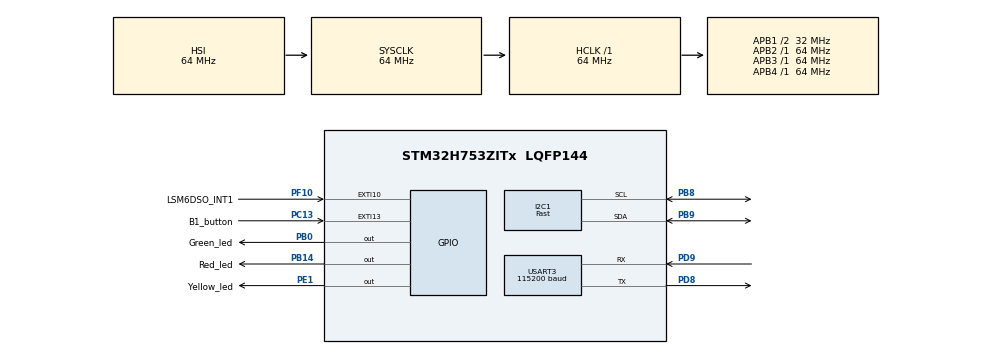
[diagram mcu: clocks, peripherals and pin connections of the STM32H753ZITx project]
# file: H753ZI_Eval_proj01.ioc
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CORTEX_M7.Enable_Spec=MPU_REGION_ENABLE
CORTEX_M7.default_mode_Activation=1
FREERTOS.Tasks01=defaultTask,8,128,StartDefaultTask,Default,NULL,Dynamic,NULL,NULL
FREERTOS.configTOTAL_HEAP_SIZE=(32 * 1024)
FREERTOS.configUSE_NEWLIB_REENTRANT=1
I2C1.I2C_Fall_Time=0
I2C1.I2C_Rise_Time=0
I2C1.I2C_Speed_Mode=I2C_Fast
I2C1.Timing=0x00300F38
IWDG1.Prescaler=IWDG_PRESCALER_64
Mcu.Family=STM32H7
Mcu.Name=STM32H753ZITx
Mcu.Package=LQFP144
NVIC.EXTI15_10_IRQn=true\:5\:0\:false\:false\:true\:true\:true\:true\:true
NVIC.I2C1_ER_IRQn=true\:5\:0\:false\:false\:true\:true\:true\:true\:true
NVIC.I2C1_EV_IRQn=true\:5\:0\:false\:false\:true\:true\:true\:true\:true
NVIC.PriorityGroup=NVIC_PRIORITYGROUP_4
NVIC.TIM1_UP_IRQn=true\:15\:0\:false\:false\:true\:false\:false\:true\:true
NVIC.TimeBase=TIM1_UP_IRQn
NVIC.TimeBaseIP=TIM1
NVIC.USART3_IRQn=true\:5\:0\:false\:false\:true\:true\:true\:true\:true
PB0.GPIO_Label=Green_led
PB0.Signal=GPIO_Output
PB14.GPIO_Label=Red_led
PB14.Signal=GPIO_Output
PB8.GPIO_Speed=GPIO_SPEED_FREQ_HIGH
PB8.Mode=I2C
PB8.Signal=I2C1_SCL
PB9.GPIO_Speed=GPIO_SPEED_FREQ_HIGH
PB9.Mode=I2C
PB9.Signal=I2C1_SDA
PC13.GPIO_Label=B1_button
PC13.GPIO_ModeDefaultEXTI=GPIO_MODE_IT_RISING_FALLING
PC13.Signal=GPXTI13
PD8.Mode=Asynchronous
PD8.Signal=USART3_TX
PD9.Mode=Asynchronous
PD9.Signal=USART3_RX
PE1.GPIO_Label=Yellow_led
PE1.Signal=GPIO_Output
PF10.GPIO_Label=LSM6DSO_INT1
PF10.GPIO_ModeDefaultEXTI=GPIO_MODE_IT_RISING
PF10.Signal=GPXTI10
ProjectManager.HeapSize=0x200
ProjectManager.StackSize=0x400
ProjectManager.TargetToolchain=STM32CubeIDE
RCC.ADCFreq_Value=129000000
RCC.APB1Freq_Value=32000000
RCC.APB2Freq_Value=64000000
RCC.APB3Freq_Value=64000000
RCC.APB4Freq_Value=64000000
RCC.CortexFreq_Value=64000000
RCC.D2PPRE1=RCC_APB1_DIV2
RCC.HCLKFreq_Value=64000000
RCC.SYSCLKFreq_VALUE=64000000
RCC.USBFreq_Value=129000000
USART3.BaudRate=115200
USART3.VirtualMode-Asynchronous=VM_ASYNC
VP_FREERTOS_VS_CMSIS_V2.Mode=CMSIS_V2
VP_IWDG1_VS_IWDG.Mode=IWDG_Activate
VP_MEMORYMAP_VS_MEMORYMAP.Mode=CurAppReg
VP_RTC_VS_RTC_Activate.Mode=RTC_Enabled
VP_SYS_VS_tim1.Mode=TIM1
board=custom

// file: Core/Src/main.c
/* USER CODE BEGIN Header */
/**
  ******************************************************************************
  * @file           : main.c
  * @brief          : Main program body
  ******************************************************************************
  * @attention
  *
  * Copyright (c) 2024 STMicroelectronics.
  * All rights reserved.
  *
  * This software is licensed under terms that can be found in the LICENSE file
  * in the root directory of this software component.
  * If no LICENSE file comes with this software, it is provided AS-IS.
  *
  ******************************************************************************
  */
/* USER CODE END Header */
#include "main.h"
#include "cmsis_os.h"

/* USER CODE BEGIN Includes */
#include ".\LED\Led.h"
#include ".\USART\Usart.h"
#include ".\GPIO\Gpio.h"
#include ".\PER\Peripherals.h"
#include ".\Util\Util.h"
#include ".\RespCodes.h"
#include ".\I2C\I2C.h"
#include ".\Sens\task_Sensors.h"
#include ".\Sens\SHT40.h"
#include ".\Sens\STTS22.h"
#include ".\Sens\LPS22D.h"
#include ".\Sens\LIS2MDL.h"
#include ".\Sens\LSM6DSV.h"
#include ".\Sens\LSM6DSO.h"
#include ".\Sens\LIS2DUX.h"

/* USER CODE END Includes */

I2C_HandleTypeDef hi2c1;

IWDG_HandleTypeDef hiwdg1;

RTC_HandleTypeDef hrtc;

UART_HandleTypeDef huart3;

/* Definitions for defaultTask */
osThreadId_t defaultTaskHandle;
const osThreadAttr_t defaultTask_attributes = {
  .name = "defaultTask",
  .stack_size = 128 * 4,
  .priority = (osPriority_t) osPriorityLow,
};
/* USER CODE BEGIN PV */

osThreadId_t task_SensorsHandle;
const osThreadAttr_t task_Sensors_attributes = {
  .name = "task_Sensors",
  .stack_size = 512 * 4,
  .priority = (osPriority_t) osPriorityLow,
};

osThreadId_t task_SHT40Handle;
const osThreadAttr_t task_SHT40_attributes = {
  .name = "task_SHT40",
  .stack_size = 256 * 4,
  .priority = (osPriority_t) osPriorityNormal,
};

osThreadId_t task_STTS22Handle;
const osThreadAttr_t task_STTS22_attributes = {
  .name = "task_STTS22",
  .stack_size = 256 * 4,
  .priority = (osPriority_t) osPriorityNormal,
};

osThreadId_t task_LPS22DHandle;
const osThreadAttr_t task_LPS22D_attributes = {
  .name = "task_LPS22D",
  .stack_size = 512 * 4,
  .priority = (osPriority_t) osPriorityNormal,
};

osThreadId_t task_LIS2MDLHandle;
const osThreadAttr_t task_LIS2MDL_attributes = {
  .name = "task_LIS2MDL",
  .stack_size = 512 * 4,
  .priority = (osPriority_t) osPriorityNormal,
};

osThreadId_t task_LSM6DSVHandle;
const osThreadAttr_t task_LSM6DSV_attributes = {
  .name = "task_LSM6DSV",
  .stack_size = 512 * 4,
  .priority = (osPriority_t) osPriorityNormal,
};

osThreadId_t task_LSM6DSOHandle;
const osThreadAttr_t task_LSM6DSO_attributes = {
  .name = "task_LSM6DSO",
  .stack_size = 512 * 4,
  .priority = (osPriority_t) osPriorityNormal,
};

osThreadId_t task_LIS2DUXHandle;
const osThreadAttr_t task_LIS2DUX_attributes = {
  .name = "task_LIS2DUX",
  .stack_size = 512 * 4,
  .priority = (osPriority_t) osPriorityNormal,
};

osThreadId_t task_I2CHandle;
const osThreadAttr_t task_I2C_attributes = {
  .name = "task_I2C",
  .stack_size = 128 * 4,
  .priority = (osPriority_t) osPriorityHigh,
};

static	uint8_t	Usart_RxBuf[64];
static	uint8_t	Usart_RxBufIdx = 0;
static	bool	Usart_RxBufIgnore = false;
/* USER CODE END PV */

void SystemClock_Config(void);
static void MPU_Config(void);
static void MX_GPIO_Init(void);
static void MX_IWDG1_Init(void);
static void MX_RTC_Init(void);
static void MX_USART3_UART_Init(void);
static void MX_I2C1_Init(void);
void StartDefaultTask(void *argument);

/* USER CODE BEGIN 0 */
void Main_USART_TxCplt(void)
{
}

void Main_USART_RxCplt(uint8_t Byte)
{
	if( Usart_RxBufIgnore == true)
		return;

	if( Usart_RxBufIdx >= (sizeof(Usart_RxBuf) - 1))
		Usart_RxBufIdx = 0;

	Usart_RxBuf[Usart_RxBufIdx ++]	= Byte;
	Usart_RxBuf[Usart_RxBufIdx] 	= 0x00;

	if( Byte == '\r')
	{
		printf("Received Data!\n");
//		BSP_USART_Send(eBSP_USART_PORT_3, Main_USART_TxCplt, Usart_RxBuf, Usart_RxBufIdx);
		Usart_RxBufIdx = 0;
	}
}

/* USER CODE END 0 */

int main(void)
{

  /* MPU Configuration--------------------------------------------------------*/
  MPU_Config();

  /* MCU Configuration--------------------------------------------------------*/

  /* Reset of all peripherals, Initializes the Flash interface and the Systick. */
  HAL_Init();

  /* USER CODE BEGIN Init */
  uint32_t system_clock_freq = HAL_RCC_GetSysClockFreq();

  /* USER CODE END Init */

  /* Configure the system clock */
  SystemClock_Config();

  /* Initialize all configured peripherals */
  MX_GPIO_Init();
  MX_IWDG1_Init();
  MX_RTC_Init();
  MX_USART3_UART_Init();
  MX_I2C1_Init();
  /* USER CODE BEGIN 2 */

  // LEDs
  BSP_LED_Start(eBSP_LED_1_RED, eBSP_LED_PATTERN_ON, 0);
  HAL_Delay(1000);
  BSP_LED_Start(eBSP_LED_2_YELLOW, eBSP_LED_PATTERN_ON, 0);
  HAL_Delay(500);
  BSP_LED_Start(eBSP_LED_1_RED, eBSP_LED_PATTERN_OFF, 0);
  BSP_LED_Start(eBSP_LED_2_YELLOW, eBSP_LED_PATTERN_OFF, 0);
  BSP_LED_Start(eBSP_LED_3_GREEN, eBSP_LED_PATTERN_ON, 0);
  HAL_Delay(500);
  BSP_LED_Start(eBSP_LED_3_GREEN, eBSP_LED_PATTERN_OFF, 0);
//  BSP_LED_Start(eBSP_LED_1_RED, eBSP_LED_PATTERN_ON, 0);
  BSP_LED_MainStart();

  // USART
  BSP_USART_Init(eBSP_USART_PORT_3, &huart3);
//  Usart_RxBuf[64];
  Usart_RxBufIdx = 0;
  Usart_RxBufIgnore = false;
  char	String[] = "\n\nSTART\n\n";
  BSP_USART_Receive(eBSP_USART_PORT_3, Main_USART_RxCplt);
  BSP_USART_Send(eBSP_USART_PORT_3, Main_USART_TxCplt, String, strlen(String));
  HAL_Delay(100);

  /* USER CODE END 2 */

  /* Init scheduler */
  osKernelInitialize();

  /* Create the thread(s) */
  /* creation of defaultTask */
  defaultTaskHandle = osThreadNew(StartDefaultTask, NULL, &defaultTask_attributes);

  /* USER CODE BEGIN RTOS_THREADS */
  task_I2CHandle		= osThreadNew(task_I2C, NULL, &task_I2C_attributes);
  task_SensorsHandle	= osThreadNew(task_Sensors, NULL, &task_Sensors_attributes);
  task_SHT40Handle 		= osThreadNew(task_SHT40, NULL, &task_SHT40_attributes);
  task_STTS22Handle		= osThreadNew(task_STTS22, NULL, &task_STTS22_attributes);
  task_LPS22DHandle		= osThreadNew(task_LPS22D, NULL, &task_LPS22D_attributes);
  task_LIS2MDLHandle	= osThreadNew(task_LIS2MDL, NULL, &task_LIS2MDL_attributes);
  task_LSM6DSVHandle	= osThreadNew(task_LSM6DSV, NULL, &task_LSM6DSV_attributes);
  task_LSM6DSOHandle	= osThreadNew(task_LSM6DSO, NULL, &task_LSM6DSO_attributes);
  task_LIS2DUXHandle	= osThreadNew(task_LIS2DUX, NULL, &task_LIS2DUX_attributes);

  /* USER CODE END RTOS_THREADS */

  /* USER CODE BEGIN RTOS_EVENTS */
  // BSP
  BSP_RespCodes_Init();
  BSP_I2C_Init(&hi2c1);
  BSP_Sensors_Init(&hi2c1);
  /* USER CODE END RTOS_EVENTS */

  /* Start scheduler */
  osKernelStart();

  /* We should never get here as control is now taken by the scheduler */

  /* Infinite loop */
  while (1)
  {
  }

}

void SystemClock_Config(void)
{
  RCC_OscInitTypeDef RCC_OscInitStruct = {0};
  RCC_ClkInitTypeDef RCC_ClkInitStruct = {0};

  /** Supply configuration update enable
  */
  HAL_PWREx_ConfigSupply(PWR_LDO_SUPPLY);

  /** Configure the main internal regulator output voltage
  */
  __HAL_PWR_VOLTAGESCALING_CONFIG(PWR_REGULATOR_VOLTAGE_SCALE3);

  while(!__HAL_PWR_GET_FLAG(PWR_FLAG_VOSRDY)) {}

  /** Initializes the RCC Oscillators according to the specified parameters
  * in the RCC_OscInitTypeDef structure.
  */
  RCC_OscInitStruct.OscillatorType = RCC_OSCILLATORTYPE_HSI|RCC_OSCILLATORTYPE_LSI;
  RCC_OscInitStruct.HSIState = RCC_HSI_DIV1;
  RCC_OscInitStruct.HSICalibrationValue = RCC_HSICALIBRATION_DEFAULT;
  RCC_OscInitStruct.LSIState = RCC_LSI_ON;
  RCC_OscInitStruct.PLL.PLLState = RCC_PLL_NONE;
  if (HAL_RCC_OscConfig(&RCC_OscInitStruct) != HAL_OK)
  {
    Error_Handler();
  }

  /** Initializes the CPU, AHB and APB buses clocks
  */
  RCC_ClkInitStruct.ClockType = RCC_CLOCKTYPE_HCLK|RCC_CLOCKTYPE_SYSCLK
                              |RCC_CLOCKTYPE_PCLK1|RCC_CLOCKTYPE_PCLK2
                              |RCC_CLOCKTYPE_D3PCLK1|RCC_CLOCKTYPE_D1PCLK1;
  RCC_ClkInitStruct.SYSCLKSource = RCC_SYSCLKSOURCE_HSI;
  RCC_ClkInitStruct.SYSCLKDivider = RCC_SYSCLK_DIV1;
  RCC_ClkInitStruct.AHBCLKDivider = RCC_HCLK_DIV1;
  RCC_ClkInitStruct.APB3CLKDivider = RCC_APB3_DIV1;
  RCC_ClkInitStruct.APB1CLKDivider = RCC_APB1_DIV2;
  RCC_ClkInitStruct.APB2CLKDivider = RCC_APB2_DIV1;
  RCC_ClkInitStruct.APB4CLKDivider = RCC_APB4_DIV1;

  if (HAL_RCC_ClockConfig(&RCC_ClkInitStruct, FLASH_LATENCY_1) != HAL_OK)
  {
    Error_Handler();
  }
}

static void MX_I2C1_Init(void)
{

  hi2c1.Instance = I2C1;
  hi2c1.Init.Timing = 0x00300F38;
  hi2c1.Init.OwnAddress1 = 0;
  hi2c1.Init.AddressingMode = I2C_ADDRESSINGMODE_7BIT;
  hi2c1.Init.DualAddressMode = I2C_DUALADDRESS_DISABLE;
  hi2c1.Init.OwnAddress2 = 0;
  hi2c1.Init.OwnAddress2Masks = I2C_OA2_NOMASK;
  hi2c1.Init.GeneralCallMode = I2C_GENERALCALL_DISABLE;
  hi2c1.Init.NoStretchMode = I2C_NOSTRETCH_DISABLE;
  if (HAL_I2C_Init(&hi2c1) != HAL_OK)
  {
    Error_Handler();
  }

  /** Configure Analogue filter
  */
  if (HAL_I2CEx_ConfigAnalogFilter(&hi2c1, I2C_ANALOGFILTER_ENABLE) != HAL_OK)
  {
    Error_Handler();
  }

  /** Configure Digital filter
  */
  if (HAL_I2CEx_ConfigDigitalFilter(&hi2c1, 0) != HAL_OK)
  {
    Error_Handler();
  }

}

static void MX_IWDG1_Init(void)
{

  hiwdg1.Instance = IWDG1;
  hiwdg1.Init.Prescaler = IWDG_PRESCALER_64;
  hiwdg1.Init.Window = 4095;
  hiwdg1.Init.Reload = 4095;
  if (HAL_IWDG_Init(&hiwdg1) != HAL_OK)
  {
    Error_Handler();
  }

}

static void MX_RTC_Init(void)
{

  /** Initialize RTC Only
  */
  hrtc.Instance = RTC;
  hrtc.Init.HourFormat = RTC_HOURFORMAT_24;
  hrtc.Init.AsynchPrediv = 127;
  hrtc.Init.SynchPrediv = 255;
  hrtc.Init.OutPut = RTC_OUTPUT_DISABLE;
  hrtc.Init.OutPutPolarity = RTC_OUTPUT_POLARITY_HIGH;
  hrtc.Init.OutPutType = RTC_OUTPUT_TYPE_OPENDRAIN;
  hrtc.Init.OutPutRemap = RTC_OUTPUT_REMAP_NONE;
  if (HAL_RTC_Init(&hrtc) != HAL_OK)
  {
    Error_Handler();
  }

}

static void MX_USART3_UART_Init(void)
{

  huart3.Instance = USART3;
  huart3.Init.BaudRate = 115200;
  huart3.Init.WordLength = UART_WORDLENGTH_8B;
  huart3.Init.StopBits = UART_STOPBITS_1;
  huart3.Init.Parity = UART_PARITY_NONE;
  huart3.Init.Mode = UART_MODE_TX_RX;
  huart3.Init.HwFlowCtl = UART_HWCONTROL_NONE;
  huart3.Init.OverSampling = UART_OVERSAMPLING_16;
  huart3.Init.OneBitSampling = UART_ONE_BIT_SAMPLE_DISABLE;
  huart3.Init.ClockPrescaler = UART_PRESCALER_DIV1;
  huart3.AdvancedInit.AdvFeatureInit = UART_ADVFEATURE_NO_INIT;
  if (HAL_UART_Init(&huart3) != HAL_OK)
  {
    Error_Handler();
  }
  if (HAL_UARTEx_SetTxFifoThreshold(&huart3, UART_TXFIFO_THRESHOLD_1_8) != HAL_OK)
  {
    Error_Handler();
  }
  if (HAL_UARTEx_SetRxFifoThreshold(&huart3, UART_RXFIFO_THRESHOLD_1_8) != HAL_OK)
  {
    Error_Handler();
  }
  if (HAL_UARTEx_DisableFifoMode(&huart3) != HAL_OK)
  {
    Error_Handler();
  }

}

static void MX_GPIO_Init(void)
{
  GPIO_InitTypeDef GPIO_InitStruct = {0};

  /* GPIO Ports Clock Enable */
  __HAL_RCC_GPIOC_CLK_ENABLE();
  __HAL_RCC_GPIOF_CLK_ENABLE();
  __HAL_RCC_GPIOB_CLK_ENABLE();
  __HAL_RCC_GPIOD_CLK_ENABLE();
  __HAL_RCC_GPIOE_CLK_ENABLE();

  /*Configure GPIO pin Output Level */
  HAL_GPIO_WritePin(GPIOB, Green_led_Pin|Red_led_Pin, GPIO_PIN_RESET);

  /*Configure GPIO pin Output Level */
  HAL_GPIO_WritePin(Yellow_led_GPIO_Port, Yellow_led_Pin, GPIO_PIN_RESET);

  /*Configure GPIO pin : B1_button_Pin */
  GPIO_InitStruct.Pin = B1_button_Pin;
  GPIO_InitStruct.Mode = GPIO_MODE_IT_RISING_FALLING;
  GPIO_InitStruct.Pull = GPIO_NOPULL;
  HAL_GPIO_Init(B1_button_GPIO_Port, &GPIO_InitStruct);

  /*Configure GPIO pin : LSM6DSO_INT1_Pin */
  GPIO_InitStruct.Pin = LSM6DSO_INT1_Pin;
  GPIO_InitStruct.Mode = GPIO_MODE_IT_RISING;
  GPIO_InitStruct.Pull = GPIO_NOPULL;
  HAL_GPIO_Init(LSM6DSO_INT1_GPIO_Port, &GPIO_InitStruct);

  /*Configure GPIO pins : Green_led_Pin Red_led_Pin */
  GPIO_InitStruct.Pin = Green_led_Pin|Red_led_Pin;
  GPIO_InitStruct.Mode = GPIO_MODE_OUTPUT_PP;
  GPIO_InitStruct.Pull = GPIO_NOPULL;
  GPIO_InitStruct.Speed = GPIO_SPEED_FREQ_LOW;
  HAL_GPIO_Init(GPIOB, &GPIO_InitStruct);

  /*Configure GPIO pin : Yellow_led_Pin */
  GPIO_InitStruct.Pin = Yellow_led_Pin;
  GPIO_InitStruct.Mode = GPIO_MODE_OUTPUT_PP;
  GPIO_InitStruct.Pull = GPIO_NOPULL;
  GPIO_InitStruct.Speed = GPIO_SPEED_FREQ_LOW;
  HAL_GPIO_Init(Yellow_led_GPIO_Port, &GPIO_InitStruct);

  /* EXTI interrupt init*/
  HAL_NVIC_SetPriority(EXTI15_10_IRQn, 5, 0);
  HAL_NVIC_EnableIRQ(EXTI15_10_IRQn);

/* USER CODE BEGIN MX_GPIO_Init_2 */
  // Init input lines (see HAL_GPIO_EXTI_Callback)
  BSP_GPIO_Init(GPIOC, GPIO_PIN_13);
/* USER CODE END MX_GPIO_Init_2 */
}

void StartDefaultTask(void *argument)
{
  /* USER CODE BEGIN 5 */
  /* Infinite loop */
  for(;;)
  {
    osDelay(1);
	if( HAL_IWDG_Refresh(&hiwdg1) != HAL_OK)
	{
	  Error_Handler();
	}

	BSP_LED_MainLoop();
	BSP_USART_MainLoop();
	BSP_GPIO_MainLoop();
  }
  /* USER CODE END 5 */
}

 /* MPU Configuration */

void MPU_Config(void)
{
  MPU_Region_InitTypeDef MPU_InitStruct = {0};

  /* Disables the MPU */
  HAL_MPU_Disable();

  /** Initializes and configures the Region and the memory to be protected
  */
  MPU_InitStruct.Enable = MPU_REGION_ENABLE;
  MPU_InitStruct.Number = MPU_REGION_NUMBER0;
  MPU_InitStruct.BaseAddress = 0x0;
  MPU_InitStruct.Size = MPU_REGION_SIZE_4GB;
  MPU_InitStruct.SubRegionDisable = 0x87;
  MPU_InitStruct.TypeExtField = MPU_TEX_LEVEL0;
  MPU_InitStruct.AccessPermission = MPU_REGION_NO_ACCESS;
  MPU_InitStruct.DisableExec = MPU_INSTRUCTION_ACCESS_DISABLE;
  MPU_InitStruct.IsShareable = MPU_ACCESS_SHAREABLE;
  MPU_InitStruct.IsCacheable = MPU_ACCESS_NOT_CACHEABLE;
  MPU_InitStruct.IsBufferable = MPU_ACCESS_NOT_BUFFERABLE;

  HAL_MPU_ConfigRegion(&MPU_InitStruct);
  /* Enables the MPU */
  HAL_MPU_Enable(MPU_PRIVILEGED_DEFAULT);

}

void HAL_TIM_PeriodElapsedCallback(TIM_HandleTypeDef *htim)
{
  if (htim->Instance == TIM1) {
    HAL_IncTick();
  }
}

void Error_Handler(void)
{
  __disable_irq();
  while (1)
  {
  }
}
